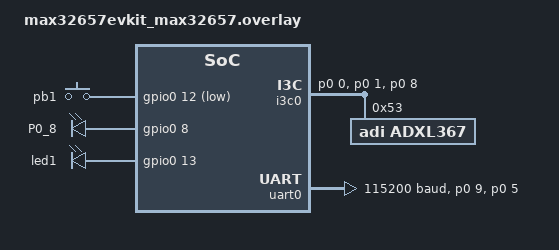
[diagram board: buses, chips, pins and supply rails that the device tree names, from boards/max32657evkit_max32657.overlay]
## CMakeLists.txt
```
# SPDX-License-Identifier: Apache-2.0

cmake_minimum_required(VERSION 3.20.0)
find_package(Zephyr REQUIRED HINTS $ENV{ZEPHYR_BASE})
project(blinky)

# Include compiler flags to enable source navigation with ELF File Explorer
zephyr_cc_option(-fstack-usage)
zephyr_cc_option(-fdump-ipa-cgraph)
zephyr_cc_option(-gdwarf-4)

target_sources(app PRIVATE
    src/main.c
    src/idle.c
    src/accel.c
)
```

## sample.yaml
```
sample:
  name: Motion detect
  description: Demonstrates the motion-detect power-saving features of the ADXL367
```

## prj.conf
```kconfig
CONFIG_GPIO=y
CONFIG_I3C=y
CONFIG_ADXL367=y

CONFIG_FPU=y
# CONFIG_LOG=y
# CONFIG_LOG_MODE_IMMEDIATE=y

# Increased stack due to settings API usage
CONFIG_SYSTEM_WORKQUEUE_STACK_SIZE=2048
CONFIG_MAIN_STACK_SIZE=2048
CONFIG_INIT_STACKS=y
CONFIG_THREAD_STACK_INFO=y
CONFIG_THREAD_NAME=y

# Enable thread awareness when debugging
CONFIG_THREAD_NAME=y
CONFIG_DEBUG_THREAD_INFO=y
CONFIG_THREAD_ANALYZER=y
```

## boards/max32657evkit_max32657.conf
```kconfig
# Configuration for MAX32657-WLP.
#
# This file was generated using Analog Devices CodeFusion Studio.
# https://github.com/analogdevicesinc/codefusion-studio
#
# Generated at: 2025-07-17T16:31:08.264Z 
#
# SPDX-License-Identifier: Apache-2.0
# Copyright (c) 2025 Analog Devices, Inc.

# Set the clock frequency
CONFIG_SYS_CLOCK_HW_CYCLES_PER_SEC=50000000 

# Set up the SysTick timer
CONFIG_CORTEX_M_SYSTICK=y
CONFIG_SYS_CLOCK_TICKS_PER_SEC=10000 

# Using GPIO
CONFIG_GPIO=y
# Using UART
CONFIG_SERIAL=y
CONFIG_I3C=y
CONFIG_ADXL367=y

# Use defined partition of flash memory for code.
CONFIG_USE_DT_CODE_PARTITION=y
```

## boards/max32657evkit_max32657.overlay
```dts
/**
 * Configuration for MAX32657-WLP.
 *
 * This file was generated using Analog Devices CodeFusion Studio.
 * https://github.com/analogdevicesinc/codefusion-studio
 *
 * Generated at: 2025-07-17T16:31:08.267Z 
 *
 * SPDX-License-Identifier: Apache-2.0
 * Copyright (c) 2025 Analog Devices, Inc.
 */

/* Memory Configuration
*/

/ {
	chosen {
		zephyr,code-partition = &slot0_partition;
		zephyr,flash = &flash0;
		zephyr,sram = &secure_ram;
	};

	reserved-memory {
		#address-cells = <1>;
 		#size-cells = <1>;
 		ranges;

		secure_ram: partition@30000000 {
			/* This partition is chosen for sram. */
			label = "secure-memory";
			reg = <0x30000000 DT_SIZE_K(256)>;
		};
	};
};

&flash0 {
	partitions {
		compatible = "fixed-partitions";
		#address-cells = <1>;
		#size-cells = <1>;

		slot0_partition: partition@0 {
			/* This partition is chosen for code-partition. */
			label = "image-0";
			reg = <0x0 DT_SIZE_K(690)>;
		};
		storage_partition: partition@f0000 {
			/* This partition is not chosen. */
			label = "storage";
			reg = <0xf0000 DT_SIZE_K(64)>;
		};
	};
};


/* GPIO Configuration
*/

/ {
	buttons {
		pb1: pb1 {
			gpios = <&gpio0 12 (GPIO_ACTIVE_LOW | MAX32_GPIO_VSEL_VDDIO | GPIO_PULL_UP)>;
			zephyr,code = <INPUT_KEY_0>;
		};
	};

	leds {
		compatible = "gpio-leds";
        p08: p0_8 {
            gpios = <&gpio0 8 GPIO_ACTIVE_HIGH>;
            label = "P0_8";
        };

		led1: led_1 {
			gpios = <&gpio0 13 (GPIO_ACTIVE_HIGH | MAX32_GPIO_VSEL_VDDIO | MAX32_GPIO_DRV_STRENGTH_0)>;
		};
	};

	aliases {
		p8 = &p08;
		pb = &pb1;
		led0 = &led1;
	};
};

/* Peripheral Configuration
*/

/ {
	chosen {
		zephyr,console = &uart0;
		zephyr,shell-uart = &uart0;
		zephyr,bt-c2h-uart = &uart0;
	};
};

&dma1 {
	status = "disabled";
};

&i3c_scl_p0_0 {
	power-source = <MAX32_VSEL_VDDIO>;
};

&i3c_sda_p0_1 {
	power-source = <MAX32_VSEL_VDDIO>;
};

&i3c_pur_p0_8 {
	power-source = <MAX32_VSEL_VDDIO>;
	drive-strength = <0>;
};

&i3c0 {
	pinctrl-0 = <&i3c_scl_p0_0 &i3c_sda_p0_1 &i3c_pur_p0_8>;
	pinctrl-names = "default";
	status = "okay";
};

&i3c0 {
       adxl367: adxl367@530000000000000000 {
               compatible = "adi,adxl367";
               reg = <0x53 0x00 0x00>;
               status = "okay";
       };
};

&rtc_counter {
	status = "disabled";
};

&spi0 {
	status = "disabled";
};

&timer0 {
	status = "disabled";
};

&timer1 {
	status = "disabled";
};

&timer2 {
	status = "disabled";
};

&timer3 {
	status = "disabled";
};

&timer4 {
	status = "disabled";
};

&timer5 {
	status = "disabled";
};

&trng {
	status = "disabled";
};

&uart0_tx_p0_9 {
	power-source = <MAX32_VSEL_VDDIO>;
};

&uart0_rx_p0_5 {
	power-source = <MAX32_VSEL_VDDIO>;
	/* Weak pull-up is not supported here in Zephyr. Using strong pull-up instead. */
	bias-pull-up;
};

&uart0 {
	pinctrl-0 = <&uart0_tx_p0_9 &uart0_rx_p0_5>;
	pinctrl-names = "default";
	current-speed = <115200>;
	parity = "none";
	stop-bits = "1";
	data-bits = <8>;
	status = "okay";
};

&wdt0 {
	status = "disabled";
};

&wut0 {
	status = "disabled";
};

&wut1 {
	status = "disabled";
};

/* Clock Configuration and Initialization
*/

/* System clock configuration */
&gcr {
	clocks = <&clk_ipo>;
	sysclk-prescaler = <1>;
};

&clk_ipo {
	status = "okay";
};
```

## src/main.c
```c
#include <zephyr/kernel.h>

#include "idle.h"
#include "accel.h"

//      Motion detection (power-saving features) of ADXL367 on ME30
//

accel_pkt incoming[SAMPLE_SETS];

static int init(void)
{
    int err;

    idle_init();
    
    err = accel_init();
    if (err)    return err;

	return 0;
}

int main(void)
{
    k_sleep(K_SECONDS(5));
    
    printk("5 seconds have passed!\n");
    if (init()) { printk("init() failed..."); return -1; }

    k_sleep(K_FOREVER);

    return 0;
}
```

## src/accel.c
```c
#include "accel.h"

#define ACCEL_THREAD_PRIO		 3
#define ACCEL_THREAD_STACK_SIZE 2048
struct k_thread ACCEL_thread;
K_THREAD_STACK_DEFINE(ACCEL_stack, ACCEL_THREAD_STACK_SIZE);

K_SEM_DEFINE(accel_fifo_sem, 0, 1);
K_SEM_DEFINE(accel_inactive_sem, 0, 1);

K_MSGQ_DEFINE(accel_msgq, SAMPLE_SETS*sizeof(accel_pkt), 1, 1);

static struct k_work accel_work;

static accel_pkt accel[SAMPLE_SETS];
static uint8_t   accel_raw_fifo[SAMPLE_FIFO_LEN]; // 6 bytes per each X,Y,Z set

static void accel_wake_handler(void)
{
    MXC_LP_ClearWakeStatus();
    uint8_t status;
    i2c_read_reg(ADXL367_REG_STATUS, &status);

	if (status & ADXL367_STATUS_FIFO_WATERMARK)
		while (gpio_pin_get_dt(&int1))
			i2c_multi_read(ADXL367_REG_I2C_FIFO_DATA, accel_raw_fifo, SAMPLE_FIFO_LEN);

	if (status & ADXL367_STATUS_AWAKE)
	{
		gpio_pin_set_dt(&led, 1);

		i2c_write_reg(ADXL367_REG_INTMAP1_LOWER, ADXL367_INTMAP1_LOWER_INACT_INT1 | ADXL367_INTMAP1_LOWER_FIFO_WATERMARK_INT1);
		k_sem_give(&accel_fifo_sem);
	}
	else
	{
		gpio_pin_set_dt(&led, 0);

		i2c_write_reg(ADXL367_REG_INTMAP1_LOWER, ADXL367_INTMAP1_LOWER_ACT_INT1);
		k_sem_give(&accel_inactive_sem);
	}
    printk("In accel_wake_handler\n");
}

static void accel_work_handler(struct k_work *work)
{
    k_msgq_put(&accel_msgq, &accel, K_NO_WAIT);
}

// Copies all 8 sets of acceleration values into 'dest'
void set_accel_val(accel_pkt *dest)
{
    memcpy(dest, accel, sizeof(accel));
}

// static int twos_complement(unsigned int val, int num_bits)
// {
//     int value  = (int)val;

//     if (value & (1 << (num_bits-1)))
//        value -= 1 << num_bits;

//     return value;
// }

// static int16_t decode_accel_axis(uint8_t msb, uint8_t lsb)
// {
//     uint16_t value = ((msb << 8) | lsb) & 0x3FFF;
//     return twos_complement(value, 14); // 14-bit axis resolution
// }

static void accel_main(void *p1, void *p2, void *p3)
{
    printk("In accel_main!\n");
    while (1)
    {
        k_sem_take(&accel_fifo_sem, K_FOREVER);
        k_work_submit(&accel_work);
    }
}

static int init_led(void)
{
	int err;

	if (!gpio_is_ready_dt(&led)) {
		return -1;
	}

	err = gpio_pin_configure_dt(&led, GPIO_OUTPUT_ACTIVE);
	if (err < 0) {
		return err;
	}

	return 0;
}

// GPIO initialization used for FIFO watermark interrupts
static int int1_init(void)
{
    int err;

    IRQ_CONNECT(GPIOWAKE_IRQn, 2, accel_wake_handler, NULL, 0);
    irq_enable(GPIOWAKE_IRQn);

    err = gpio_is_ready_dt(&int1);
	if (!err) {
		printk("int1 not ready\n");
		return -1;
	}

	err = gpio_pin_configure_dt(&int1, GPIO_INPUT);
	if (err) {
		printk("int1 failed to configure\n");
		return err;
	}

    // Set GPIO pin as global wake-up source
    mxc_gpio_cfg_t init1_cfg = {
        .port = MXC_GPIO0,
        .mask = MXC_GPIO_PIN_8
    };
    
    Wrap_MXC_LP_EnableGPIOWakeup(&init1_cfg);

	return 0;
}

static void fifo_init(uint8_t mode, uint16_t water_mark_lvl)
{
    // FIFO Mode: stream mode
    i2c_update_reg(ADXL367_REG_FIFO_CTL,
                   ADXL367_FIFO_CTL_FIFO_MODE(0x3),
                   ADXL367_FIFO_CTL_FIFO_MODE(mode));

    if (water_mark_lvl > 0xFF)
    {
        i2c_update_reg(ADXL367_REG_FIFO_CTL,
                       ADXL367_FIFO_CTL_FIFO_SAMPLE8,
                       ADXL367_FIFO_CTL_FIFO_SAMPLE8);
        
        i2c_write_reg(ADXL367_REG_FIFO_SAMPLES, (water_mark_lvl & 0xFF));
    }
    else
        i2c_write_reg(ADXL367_REG_FIFO_SAMPLES, water_mark_lvl);
}

// See the datasheet "Loop mode initialization" section for more detail
static void loop_mode_init(void)
{
    i2c_write_reg(ADXL367_REG_THRESH_ACT_H, 0x00); // Step 1a
    i2c_write_reg(ADXL367_REG_THRESH_ACT_L, 0x04); // Step 1b

    i2c_write_reg(ADXL367_REG_TIMER_ACT, 0x00);    // Step 2

    i2c_write_reg(ADXL367_REG_THRESH_INACT_H, 0x7F); // Step 3a
    i2c_write_reg(ADXL367_REG_THRESH_INACT_L, 0xFC); // Step 3b

    i2c_write_reg(ADXL367_REG_TIMER_INACT_H, 0x00); // Step 4a
    i2c_write_reg(ADXL367_REG_TIMER_INACT_L, 0x00); // Step 4b

    i2c_write_reg(ADXL367_REG_ACT_INACT_CTL, 0x3F); // Step 5
}

// Soft resets accelerometer and performs all needed register initializations with sensor,
// Adds a thread as well for this demo
int accel_init(void)
{
    init_led();

    i2c_write_reg(ADXL367_REG_SOFT_RESET, 'R');
    k_msleep(8);    // "A delay of 7.5 ms must be realized after software reset"

    loop_mode_init();

    // Measurement range: +- 2g, ODR: 50 Hz
    i2c_update_reg(ADXL367_REG_FILTER_CTL,
                   ADXL367_FILTER_CTL_RANGE(0x3) | ADXL367_FILTER_CTL_ODR(0x7),
                   ADXL367_FILTER_CTL_RANGE(ADXL367_RANGE_2G) | ADXL367_FILTER_CTL_ODR(ADXL367_ODR_50_HZ));
    fifo_init(ADXL367_FIFO_STREAM, SAMPLE_SETS*3);

    i2c_write_reg(ADXL367_REG_INTMAP1_LOWER, ADXL367_INTMAP1_LOWER_ACT_INT1
                                           | ADXL367_INTMAP1_LOWER_INACT_INT1);

    //  Thread init
    k_thread_create(&ACCEL_thread,
					ACCEL_stack,
					ACCEL_THREAD_STACK_SIZE,
					accel_main,
					NULL, NULL, NULL,
					ACCEL_THREAD_PRIO,
					0,
					K_NO_WAIT);

	k_thread_name_set(&ACCEL_thread, "ACCEL");
    k_work_init(&accel_work, accel_work_handler);

    i2c_write_reg(ADXL367_REG_POWER_CTL, 0x07); // Step 7

    uint8_t status = 0xFF;
    do { i2c_read_reg(ADXL367_REG_STATUS, &status); } while (status & ADXL367_STATUS_AWAKE);
    do { i2c_read_reg(ADXL367_REG_STATUS, &status); } while (!(status & ADXL367_STATUS_AWAKE));

     // Linked mode (motion-detect) initialization
    i2c_write_reg(ADXL367_REG_THRESH_ACT_H,
                  THRESH_H(THRESH_LSB(THRESH_ACT_MG)));
    i2c_write_reg(ADXL367_REG_THRESH_ACT_L,
                  THRESH_L(THRESH_LSB(THRESH_ACT_MG)));
    
    i2c_write_reg(ADXL367_REG_TIMER_ACT, 0x02); // No timer for wakeup

    i2c_write_reg(ADXL367_REG_THRESH_INACT_H,
                  THRESH_H(THRESH_LSB(THRESH_INACT_MG)));
    i2c_write_reg(ADXL367_REG_THRESH_INACT_L,
                  THRESH_L(THRESH_LSB(THRESH_INACT_MG)));

    i2c_write_reg(ADXL367_REG_TIMER_INACT_H, 0x00); 
    i2c_write_reg(ADXL367_REG_TIMER_INACT_L, TIMER_INACT);

    i2c_write_reg(ADXL367_REG_INTMAP1_LOWER, ADXL367_INTMAP1_LOWER_FIFO_WATERMARK_INT1);

    // Interrupt pin & begin accelerometer
    int1_init();

    return 0;
}
```

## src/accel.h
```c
#ifndef ACCEL_H_
#define ACCEL_H_

//      Zephyr-based driver for ME30's ADXL367 accelerometer
//

#include <zephyr/kernel.h>
#include <zephyr/drivers/gpio.h>
#include <zephyr/irq.h>

#include <wrap_max32_wut.h>
#include <wrap_max32_sys.h>
#include <wrap_max32_lp.h>

#include "i2c.h"
#include "sem.h"

#define SAMPLE_SETS     8
#define SAMPLE_FIFO_LEN SAMPLE_SETS*6  // 2 bytes per each axis of X,Y,Z ==> 6x multiplier

#define THRESH_ACT_MG     50
#define THRESH_INACT_MG   400

#define TIMER_INACT       (uint8_t)250    // # of samples below threshold that causes inactivity event

// Macros for writing into THRESHOLD registers
#define THRESH_LSB(THRESH)  ((uint16_t)(THRESH / 0.25)) // 0.25 is the +/- 2g scale factor defined below
#define THRESH_H(LSB)       ((uint8_t)((LSB >> 6) & 0x7F))
#define THRESH_L(LSB)       ((uint8_t)((LSB & 0x3F) << 2))

/* GPIO INT1 pin */
#define INT1_NODE DT_ALIAS(p8)
static const struct gpio_dt_spec int1 = GPIO_DT_SPEC_GET_OR(INT1_NODE, gpios, {0});

/* LED */
#define LED0_NODE DT_ALIAS(led0)
static const struct gpio_dt_spec led = GPIO_DT_SPEC_GET(LED0_NODE, gpios);

typedef struct {
    int16_t x;
    int16_t y;
    int16_t z;
} accel_pkt;

extern struct k_msgq accel_msgq;

int          accel_init(void);
void         set_accel_val(accel_pkt *dest);
void         accel_update(void);

/* Registers */
#define ADXL367_REG_DEVID_AD 0x00
#define ADXL367_REG_DEVID_MST 0x01
#define ADXL367_REG_PARTID 0x02
#define ADXL367_REG_REVID 0x03
#define ADXL367_REG_SERIAL_NUMBER_R3 0x04
#define ADXL367_REG_SERIAL_NUMBER_R2 0x05
#define ADXL367_REG_SERIAL_NUMBER_R1 0x06
#define ADXL367_REG_SERIAL_NUMBER_R0 0x07
#define ADXL367_REG_XDATA 0x08
#define ADXL367_REG_YDATA 0x09
#define ADXL367_REG_ZDATA 0x0A
#define ADXL367_REG_STATUS 0x0B
#define ADXL367_REG_FIFO_ENTRIES_L 0x0C
#define ADXL367_REG_FIFO_ENTRIES_H 0x0D
#define ADXL367_REG_XDATA_H 0x0E
#define ADXL367_REG_XDATA_L 0x0F
#define ADXL367_REG_YDATA_H 0x10
#define ADXL367_REG_YDATA_L 0x11
#define ADXL367_REG_ZDATA_H 0x12
#define ADXL367_REG_ZDATA_L 0x13
#define ADXL367_REG_TEMP_H 0x14
#define ADXL367_REG_TEMP_L 0x15
#define ADXL367_REG_EX_ADC_H 0x16
#define ADXL367_REG_EX_ADC_L 0x17
#define ADXL367_REG_I2C_FIFO_DATA 0x18
#define ADXL367_REG_SOFT_RESET 0x1F
#define ADXL367_REG_THRESH_ACT_H 0x20
#define ADXL367_REG_THRESH_ACT_L 0x21
#define ADXL367_REG_TIMER_ACT 0x22
#define ADXL367_REG_THRESH_INACT_H 0x23
#define ADXL367_REG_THRESH_INACT_L 0x24
#define ADXL367_REG_TIMER_INACT_H 0x25
#define ADXL367_REG_TIMER_INACT_L 0x26
#define ADXL367_REG_ACT_INACT_CTL 0x27
#define ADXL367_REG_FIFO_CTL 0x28
#define ADXL367_REG_FIFO_SAMPLES 0x29
#define ADXL367_REG_INTMAP1_LOWER 0x2A
#define ADXL367_REG_INTMAP2_LOWER 0x2B
#define ADXL367_REG_FILTER_CTL 0x2C
#define ADXL367_REG_POWER_CTL 0x2D
#define ADXL367_REG_SELF_TEST 0x2E
#define ADXL367_REG_TAP_THRESH 0x2F
#define ADXL367_REG_TAP_DUR 0x30
#define ADXL367_REG_TAP_LATENT 0x31
#define ADXL367_REG_TAP_WINDOW 0x32
#define ADXL367_REG_X_OFFSET 0x33
#define ADXL367_REG_Y_OFFSET 0x34
#define ADXL367_REG_Z_OFFSET 0x35
#define ADXL367_REG_X_SEN 0x36
#define ADXL367_REG_Y_SEN 0x37
#define ADXL367_REG_Z_SEN 0x38
#define ADXL367_REG_TIMER_CTL 0x39
#define ADXL367_REG_INTMAP1_UPPER 0x3A
#define ADXL367_REG_INTMAP2_UPPER 0x3B
#define ADXL367_REG_ADC_CTL 0x3C
#define ADXL367_REG_TEMP_CTL 0x3D
#define ADXL367_REG_TEMP_ADC_OVER_THRSH_H 0x3E
#define ADXL367_REG_TEMP_ADC_OVER_THRSH_L 0x3F
#define ADXL367_REG_TEMP_ADC_UNDER_THRSH_H 0x40
#define ADXL367_REG_TEMP_ADC_UNDER_THRSH_L 0x41
#define ADXL367_REG_TEMP_ADC_TIMER 0x42
#define ADXL367_REG_AXIS_MASK 0x43
#define ADXL367_REG_STATUS_COPY 0x44
#define ADXL367_REG_STATUS2 0x45

/* ADXL367_REG_POWER_CTL defintions */
#define ADXL367_POWER_CTL_EXT_CLK       (1 << 6)
#define ADXL367_POWER_CTL_LOW_NOISE(x)  (((x) & 0x3) << 4)
#define ADXL367_POWER_CTL_WAKEUP        (1 << 3)
#define ADXL367_POWER_CTL_AUTOSLEEP     (1 << 2)
#define ADXL367_POWER_CTL_MEASURE(x)    (((x) & 0x3) << 0)

/* ADXL367_POWER_CTL_MEASURE options */
#define ADXL367_MEASURE_STANDBY         0
#define ADXL367_MEASURE_ON              2

/* ADXL367_REG_FILTER_CTL definitions */
#define ADXL367_FILTER_CTL_RANGE(x)     (((x) & 0x3) << 6)
#define ADXL367_FILTER_CTL_I2C_HS       (1 << 5)
#define ADXL367_FILTER_CTL_EXT_SAMPLE   (1 << 3)
#define ADXL367_FILTER_CTL_ODR(x)       ((x) & 0x7)

/* ADXL367_FILTER_CTL_RANGE(x) options */
#define ADXL367_RANGE_2G                0
#define ADXL367_RANGE_4G                1
#define ADXL367_RANGE_8G                2

/* ADXL367_FILTER_CTL_ODR(x) options */
#define ADXL367_ODR_12_5_HZ             0
#define ADXL367_ODR_25_HZ               1
#define ADXL367_ODR_50_HZ               2
#define ADXL367_ODR_100_HZ              3
#define ADXL367_ODR_200_HZ              4
#define ADXL367_ODR_400_HZ              5

/* ADXL367_REG_FIFO_CTL */
#define ADXL367_FIFO_CTL_CHANNEL_SELECT(x) (((x) & 0x0F) << 3)
#define ADXL367_FIFO_CTL_FIFO_SAMPLE8      (1<<2)
#define ADXL367_FIFO_CTL_FIFO_MODE(x)      ((x) & 0x3)

/* ADXL367_FIFO_CTL_FIFO_MODE(x) options */
#define ADXL367_FIFO_DISABLE          0
#define ADXL367_FIFO_OLDEST_SAVED     1
#define ADXL367_FIFO_STREAM           2
#define ADXL367_FIFO_TRIGGERED        3

/* ADXL367_REG_INTMAP1_LOWER definitions*/
#define ADXL367_INTMAP1_LOWER_INT_LOW_INT1         (1 << 7)
#define ADXL367_INTMAP1_LOWER_AWAKE_INT1           (1 << 6)
#define ADXL367_INTMAP1_LOWER_INACT_INT1           (1 << 5)
#define ADXL367_INTMAP1_LOWER_ACT_INT1             (1 << 4)
#define ADXL367_INTMAP1_LOWER_FIFO_OVERRUN_INT1    (1 << 3)
#define ADXL367_INTMAP1_LOWER_FIFO_WATERMARK_INT1  (1 << 2)
#define ADXL367_INTMAP1_LOWER_FIFO_READY_INT1      (1 << 1)
#define ADXL367_INTMAP1_LOWER_DATA_READY_INT1      (1 << 0)

/* ADXL367_REG_STATUS definitions */
#define ADXL367_STATUS_ERR_USER_REGS    (1 << 7)
#define ADXL367_STATUS_AWAKE            (1 << 6)
#define ADXL367_STATUS_INACT            (1 << 5)
#define ADXL367_STATUS_ACT              (1 << 4)
#define ADXL367_STATUS_FIFO_OVERRUN     (1 << 3)
#define ADXL367_STATUS_FIFO_WATERMARK   (1 << 2)
#define ADXL367_STATUS_FIFO_RDY         (1 << 1)
#define ADXL367_STATUS_DATA_RDY         (1 << 0)

/* ADXL367_REG_ACT_INACT_CTL definitions */
#define ADXL367_ACT_INACT_CTL_LINKLOOP(x)   (((x) & 0x3) << 4)
#define ADXL367_ACT_INACT_CTL_INACT_REF     (0x3 << 2)
#define ADXL367_ACT_INACT_CTL_INACT_EN      (0x1 << 2)
#define ADXL367_ACT_INACT_CTL_ACT_REF       (0x3 << 0)
#define ADXL367_ACT_INACT_CTL_ACT_EN        (0x1 << 0)

/* ADXL367_ACT_INACT_CTL_LINKLOOP(x) options */
#define ADXL367_MODE_DEFAULT            0
#define ADXL367_MODE_LINK               1
#define ADXL367_MODE_LOOP               3

#define ADXL367_SCALE_FACTOR_2G 0.25f // in units of mg/LSB

#endif  // ACCEL_H_
```

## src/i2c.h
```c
#ifndef I2C_H_
#define I2C_H_

//      I2C Zephyr-based driver for ME30's ADXL367 sensor communication
//

#include <zephyr/drivers/i2c.h>
#include <zephyr/device.h>
#include <zephyr/devicetree.h>

static const struct i2c_dt_spec i2c_dev = I2C_DT_SPEC_GET(DT_NODELABEL(adxl367));

// Single register read
static inline int i2c_read_reg(uint8_t reg, uint8_t *buf)
{
    return i2c_reg_read_byte_dt(&i2c_dev, reg, buf);
}

// Burst read starting at 'reg_start'
static inline int i2c_multi_read(uint8_t reg_start, uint8_t *buf, uint32_t bufsz)
{
    return i2c_burst_read_dt(&i2c_dev, reg_start, buf, bufsz);
}

// Single register write
static inline int i2c_write_reg(uint8_t reg, uint8_t val)
{
    return i2c_reg_write_byte_dt(&i2c_dev, reg, val);
}

// Update register bits using mask
static inline int i2c_update_reg(uint8_t reg, uint8_t mask, uint8_t val)
{
    return i2c_reg_update_byte_dt(&i2c_dev, reg, mask, val);
}

#endif // I2C_H_
```

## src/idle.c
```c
#include "idle.h"

#define IDLE_THREAD_PRIO		3
#define IDLE_THREAD_STACK_SIZE  1024
struct k_thread IDLE_thread;
K_THREAD_STACK_DEFINE(IDLE_stack, IDLE_THREAD_STACK_SIZE);

static void set_pwr_mode(pwr_mode_t new_mode)
{
	// SysTick->CTRL &= ~SysTick_CTRL_TICKINT_Msk;

	switch (new_mode)
	{
		case SLEEP:
			printk("Entering SLEEP mode!\n");
            NOPs(10000);

			Wrap_MXC_LP_EnterMicroPowerMode();
			break;
		case STANDBY:
			printk("Entering STANDBY mode!\n");
			NOPs(10000);

			Wrap_MXC_LP_EnterStandbyMode();
			break;
		case BACKUP:
			printk("Entering BACKUP mode!\n");
			NOPs(10000);

			Wrap_MXC_LP_EnterBackupMode();
			break;
		default: break;
	}

	// SysTick->CTRL |= ~SysTick_CTRL_TICKINT_Msk;
    printk("In ACTIVE mode!\n");
}

static void idle_main(void *p1,void *p2,void *p3)
{
	printk("In idle_main!\n");
    while (1)
    {
        k_sem_take(&accel_inactive_sem, K_FOREVER);
		set_pwr_mode(STANDBY);
    }
}

void idle_init(void)
{
    // Thread initialization
    k_thread_create(&IDLE_thread,
					IDLE_stack,
					IDLE_THREAD_STACK_SIZE,
					idle_main,
					NULL, NULL, NULL,
					IDLE_THREAD_PRIO,
					0,
					K_NO_WAIT);

	k_thread_name_set(&IDLE_thread, "my_idle");
}
```

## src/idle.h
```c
#ifndef IDLE_H_
#define IDLE_H_

//      Idle thread that manually enters LPM on ME30, has a low priority
//

#include <zephyr/kernel.h>
#include <zephyr/drivers/gpio.h>

#include <wrap_max32_lp.h>

#include "sem.h"

#define NOPs(count)                       \
    do {                                  \
        for (int i = 0; i < (count); i++) \
            __ASM volatile ("nop");       \
    } while (0)

typedef enum {
    ACTIVE,
	SLEEP,
	STANDBY,
	BACKUP
} pwr_mode_t;

void idle_init(void);

#endif // IDLE_H_
```

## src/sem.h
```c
#pragma once

#include <zephyr/kernel.h>

extern struct k_sem accel_fifo_sem;
extern struct k_sem accel_active_sem;
extern struct k_sem accel_inactive_sem;
```
